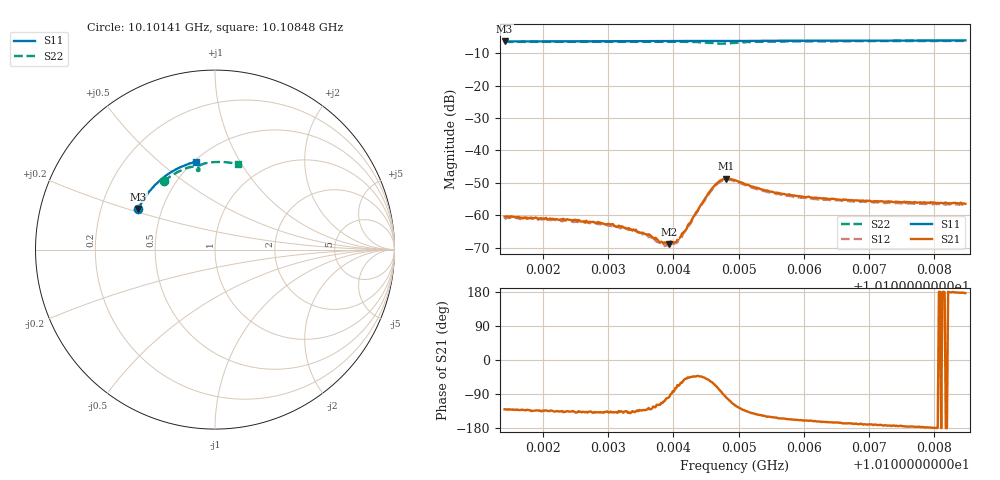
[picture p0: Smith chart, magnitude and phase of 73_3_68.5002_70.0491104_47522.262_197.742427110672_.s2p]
#  HZ  S  RI  R  50.00
! Rohde & Schwarz Vector Network Analyzer
! Rohde-Schwarz,ZNB20-2Port,1311601062101988,3.16
! Created: UTC 3/20/2024, 5:06:59 PM
! freq[Hz]  re:S11  im:S11  re:S21  im:S21  re:S12  im:S12  re:S22  im:S22
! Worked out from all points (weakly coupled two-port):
!   401 points, 10.10141 GHz to 10.10848 GHz, reference 50 ohm
!   highest |S21| = -48.71 dB at 10.1048 GHz (marker M1); lowest = -69.0 dB at 10.10394 GHz (marker M2)
!   lowest |S11| = -6.3 dB at 10.10141 GHz (marker M3), VSWR 2.87, Z = 18.4 + j10.8 ohm
!   |S11| at or under -10 dB: nowhere
!   |S22| runs from -7.0 to -6.1 dB; largest |S21 - S12| = 0.00039
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1.0101413e10  -0.4268 0.2261  -0.000615 -0.000729  -0.000531 -0.000759  -0.2861 0.3798
1.0102596e10  -0.3916 0.2889  -0.000595 -0.000535  -0.000538 -0.00057  -0.2229 0.4239
1.0102931e10  -0.3801 0.3057  -0.000557 -0.000484  -0.000486 -0.000516  -0.2034 0.4345
1.0103037e10  -0.3763 0.3109  -0.000519 -0.000503  -0.000487 -0.000492  -0.1969 0.4377
1.0103249e10  -0.3685 0.3211  -0.000459 -0.000444  -0.000431 -0.000442  -0.184 0.4436
1.010362e10  -0.3541 0.3384  -0.000302 -0.000409  -0.000257 -0.000377  -0.1602 0.4531
1.0103779e10  -0.3477 0.3456  -0.000182 -0.000342  -0.000176 -0.000334  -0.1494 0.4566
1.0103814e10  -0.3462 0.3473  -0.000154 -0.000359  -0.000129 -0.00034  -0.1469 0.4575
1.0103903e10  -0.3425 0.3512  -6.79e-05 -0.000363  -4.01e-05 -0.000347  -0.1407 0.4591
1.0103938e10  -0.3411 0.3527  -4.78e-05 -0.000353  2.19e-05 -0.000342  -0.138 0.4598
1.0104009e10  -0.3381 0.3559  4.4e-05 -0.000376  0.000108 -0.000354  -0.1327 0.4609
1.0104079e10  -0.3351 0.3589  0.00016 -0.0004  0.000206 -0.000359  -0.1272 0.4618
1.0104221e10  -0.3292 0.365  0.000483 -0.000497  0.000497 -0.000436  -0.1157 0.4627
1.0104415e10  -0.3207 0.3732  0.00102 -0.000973  0.00106 -0.000822  -0.0985 0.4596
1.0104574e10  -0.3133 0.3795  0.00133 -0.00206  0.00146 -0.00183  -0.0874 0.4495
1.0104697e10  -0.3079 0.3845  0.000745 -0.00322  0.000978 -0.00303  -0.0888 0.4392
1.0104803e10  -0.303 0.3886  -0.000503 -0.00363  -0.000144 -0.00353  -0.097 0.4387
1.0104945e10  -0.2967 0.3941  -0.00171 -0.00301  -0.00139 -0.00303  -0.1007 0.4499
1.0105475e10  -0.2711 0.4138  -0.00201 -0.00118  -0.00182 -0.0013  -0.0671 0.4771
1.0106128e10  -0.2381 0.4355  -0.00177 -0.000613  -0.00165 -0.000735  -0.0219 0.4862
1.0107311e10  -0.174 0.4675  -0.00161 -0.000199  -0.00152 -0.000351  0.0561 0.4873
1.0108477e10  -0.1073 0.4894  -0.0015 8.96e-05  -0.00142 -7.58e-05  0.1301 0.4756
